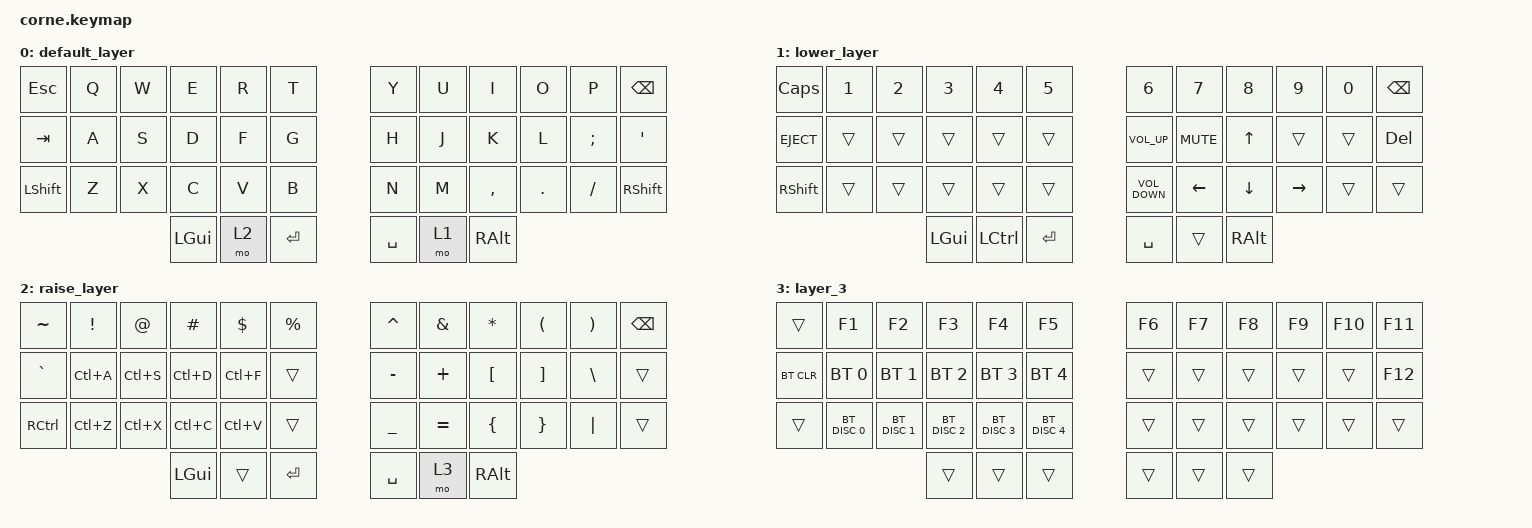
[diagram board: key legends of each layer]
/*
 * Copyright (c) 2020 The ZMK Contributors
 *
 * SPDX-License-Identifier: MIT
 */

#include <behaviors.dtsi>
#include <dt-bindings/zmk/bt.h>
#include <dt-bindings/zmk/keys.h>

/ {
    keymap {
        compatible = "zmk,keymap";

        default_layer {
            // -----------------------------------------------------------------------------------------
            // |  TAB |  Q  |  W  |  E  |  R  |  T  |   |  Y  |  U   |  I  |  O  |  P  | BKSP |
            // | CTRL |  A  |  S  |  D  |  F  |  G  |   |  H  |  J   |  K  |  L  |  ;  |  '   |
            // | SHFT |  Z  |  X  |  C  |  V  |  B  |   |  N  |  M   |  ,  |  .  |  /  | ESC  |
            //                    | GUI | LWR | SPC |   | ENT | RSE  | ALT |

            bindings = <
&kp ESC    &kp Q  &kp W  &kp E     &kp R  &kp T        &kp Y      &kp U  &kp I      &kp O    &kp P     &kp BSPC
&kp TAB    &kp A  &kp S  &kp D     &kp F  &kp G        &kp H      &kp J  &kp K      &kp L    &kp SEMI  &kp SQT
&kp LSHFT  &kp Z  &kp X  &kp C     &kp V  &kp B        &kp N      &kp M  &kp COMMA  &kp DOT  &kp FSLH  &kp RIGHT_SHIFT
                         &kp LGUI  &mo 2  &kp ENTER    &kp SPACE  &mo 1  &kp RALT
            >;
        };

        lower_layer {
            // -----------------------------------------------------------------------------------------
            // |  TAB |  1  |  2  |  3  |  4  |  5  |   |  6  |  7  |  8  |  9  |  0  | BKSP |
            // | BTCLR| BT1 | BT2 | BT3 | BT4 | BT5 |   | LFT | DWN |  UP | RGT |     |      |
            // | SHFT |     |     |     |     |     |   |     |     |     |     |     |      |
            //                    | GUI |     | SPC |   | ENT |     | ALT |

            bindings = <
&kp CAPSLOCK  &kp N1  &kp N2  &kp N3        &kp N4     &kp N5       &kp N6             &kp N7      &kp N8    &kp N9     &kp N0  &kp BSPC
&kp C_EJECT   &trans  &trans  &trans        &trans     &trans       &kp C_VOLUME_UP    &kp C_MUTE  &kp UP    &trans     &trans  &kp DELETE
&kp RSHFT     &trans  &trans  &trans        &trans     &trans       &kp C_VOLUME_DOWN  &kp LEFT    &kp DOWN  &kp RIGHT  &trans  &trans
                              &kp LEFT_GUI  &kp LCTRL  &kp ENTER    &kp SPACE          &trans      &kp RALT
            >;
        };

        raise_layer {
            // -----------------------------------------------------------------------------------------
            // |  TAB |  !  |  @  |  #  |  $  |  %  |   |  ^  |  &  |  *  |  (  |  )  | BKSP |
            // | CTRL |     |     |     |     |     |   |  -  |  =  |  [  |  ]  |  \  |  `   |
            // | SHFT |     |     |     |     |     |   |  _  |  +  |  {  |  }  | "|" |  ~   |
            //                    | GUI |     | SPC |   | ENT |     | ALT |

            bindings = <
&kp TILDE  &kp EXCL   &kp AT     &kp HASH   &kp DLLR   &kp PRCNT    &kp CARET  &kp AMPS   &kp ASTRK  &kp LPAR  &kp RPAR  &kp BSPC
&kp GRAVE  &kp LC(A)  &kp LC(S)  &kp LC(D)  &kp LC(F)  &trans       &kp MINUS  &kp PLUS   &kp LBKT   &kp RBKT  &kp BSLH  &trans
&kp RCTRL  &kp LC(Z)  &kp LC(X)  &kp LC(C)  &kp LC(V)  &trans       &kp UNDER  &kp EQUAL  &kp LBRC   &kp RBRC  &kp PIPE  &trans
                                 &kp LGUI   &trans     &kp ENTER    &kp SPACE  &mo 3      &kp RALT
            >;
        };

        layer_3 {
            bindings = <
&trans      &kp F1         &kp F2         &kp F3         &kp F4         &kp F5           &kp F6  &kp F7  &kp F8  &kp F9  &kp F10  &kp F11
&bt BT_CLR  &bt BT_SEL 0   &bt BT_SEL 1   &bt BT_SEL 2   &bt BT_SEL 3   &bt BT_SEL 4     &trans  &trans  &trans  &trans  &trans   &kp F12
&trans      &bt BT_DISC 0  &bt BT_DISC 1  &bt BT_DISC 2  &bt BT_DISC 3  &bt BT_DISC 4    &trans  &trans  &trans  &trans  &trans   &trans
                                          &trans         &trans         &trans           &trans  &trans  &trans
            >;
        };
    };
};
